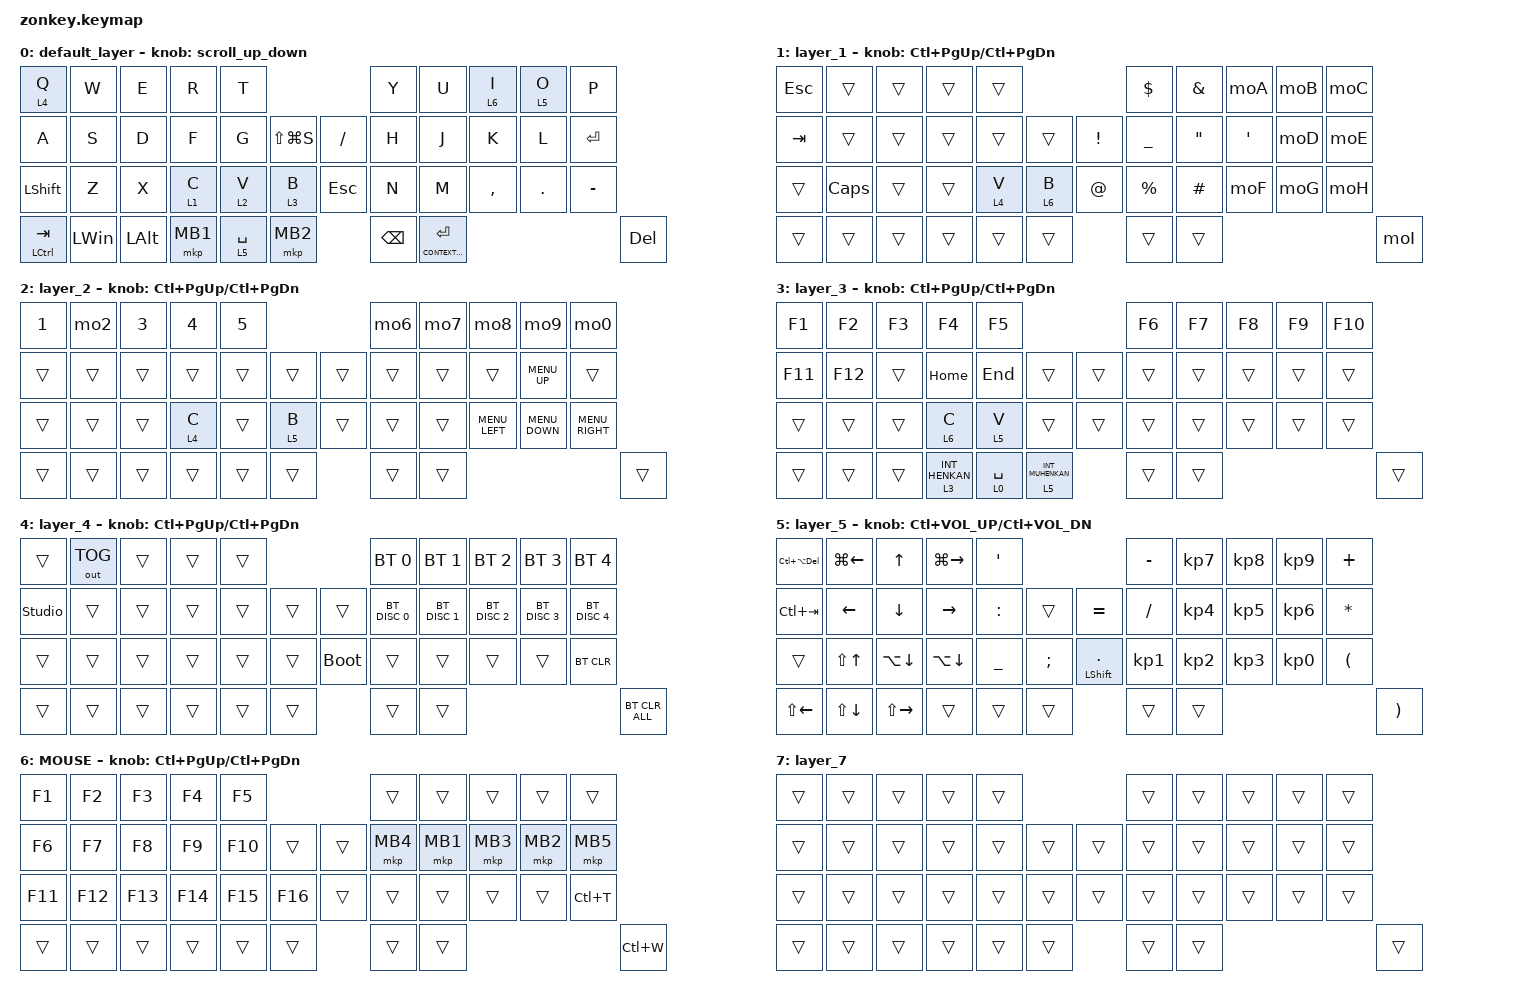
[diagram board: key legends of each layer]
#include <physical_layouts.dtsi>

#define ZMK_POINTING_DEFAULT_MOVE_VAL 1000  // default: 600
#define ZMK_POINTING_DEFAULT_SCRL_VAL 15    // default: 10

#include <behaviors.dtsi>
#include <dt-bindings/zmk/bt.h>
#include <dt-bindings/zmk/keys.h>
#include <dt-bindings/zmk/outputs.h>
#include <dt-bindings/zmk/pointing.h>

#define ZMK_POINTING_DEFAULT_SCRL_VAL 100
#define DFb 0
#define JIS 1
#define BT 4
#define MOUSE 6
#define JP_DQUOTE       AT                // "
#define JP_AMPERSAND    CARET             // &
#define JP_QUOTE        AMPERSAND         // '
#define JP_EQUAL        UNDER             // =
#define JP_CARET        EQUAL             // ^
#define JP_YEN          0x89              // ¥
#define JP_PLUS         COLON             // +
#define JP_TILDE        PLUS              // ~
#define JP_PIPE         LS(0x89)          // |
#define JP_AT           LEFT_BRACKET      // @
#define JP_COLON        SINGLE_QUOTE      // :
#define JP_ASTERISK     DOUBLE_QUOTES     // *
#define JP_BACKQUOTE    LEFT_BRACE        // `
#define JP_UNDERSCORE   LS(0x87)          // _
#define JP_LBRACKET     RIGHT_BRACKET     // [
#define JP_RBRACKET     BACKSLASH         // ]
#define JP_LPAREN       ASTERISK          // (
#define JP_RPAREN       LEFT_PARENTHESIS  // )
#define JP_LBRACE       RIGHT_BRACE       // {
#define JP_RBRACE       PIPE              // }
#define JP_KANA         LANGUAGE_1        // かな
#define JP_EISU         LANGUAGE_2        // 英数
#define JP_HANZEN       GRAVE             // 半角/全角
#define JP_BSLH  INT1         // (backslash)

&mt {
    flavor = "balanced";
    quick-tap-ms = <0>;
};

/ {
    combos {
        compatible = "zmk,combos";

        jpn {
            bindings = <&kp LANG1>;
            key-positions = <37 38>;
        };

        eng {
            bindings = <&kp LANG2>;
            key-positions = <38 39>;
        };

        layer1 {
            bindings = <&sl 1>;
            key-positions = <12 13>;
        };
    };

    macros {
        to_layer_0: to_layer_0 {
            compatible = "zmk,behavior-macro-one-param";
            #binding-cells = <1>;
            bindings = <&to 0 &macro_param_1to1 &kp MACRO_PLACEHOLDER>;
            label = "TO_LAYER_0";
        };
    };

    behaviors {
        lt_to_layer_0: lt_to_layer_0 {
            compatible = "zmk,behavior-hold-tap";
            label = "LAYER_TAP_TO_0";
            bindings = <&mo>, <&to_layer_0>;

            #binding-cells = <2>;
            tapping-term-ms = <200>;
        };

        mo2: mo2 {
            compatible = "zmk,behavior-mod-morph";
            #binding-cells = <0>;
            bindings = <&kp N2>, <&kp AT>;

            mods = <(MOD_LSFT|MOD_RSFT)>;
        };

        mo6: mo6 {
            compatible = "zmk,behavior-mod-morph";
            #binding-cells = <0>;
            bindings = <&kp N6>, <&kp CARET>;

            mods = <(MOD_LSFT|MOD_RSFT)>;
        };

        mo7: mo7 {
            compatible = "zmk,behavior-mod-morph";
            #binding-cells = <0>;
            bindings = <&kp N7>, <&kp AMPS>;

            mods = <(MOD_LSFT|MOD_RSFT)>;
        };

        mo8: mo8 {
            compatible = "zmk,behavior-mod-morph";
            #binding-cells = <0>;
            bindings = <&kp N8>, <&kp ASTRK>;

            mods = <(MOD_LSFT|MOD_RSFT)>;
        };

        mo9: mo9 {
            compatible = "zmk,behavior-mod-morph";
            #binding-cells = <0>;
            bindings = <&kp N9>, <&kp LPAR>;

            mods = <(MOD_LSFT|MOD_RSFT)>;
        };

        mo0: mo0 {
            compatible = "zmk,behavior-mod-morph";
            #binding-cells = <0>;
            bindings = <&kp N0>, <&kp LS(N9)>;

            mods = <(MOD_LSFT|MOD_RSFT)>;
        };

        moA: moA {
            compatible = "zmk,behavior-mod-morph";
            #binding-cells = <0>;
            bindings = <&kp MINUS>, <&kp UNDERSCORE>;

            mods = <(MOD_LSFT|MOD_RSFT)>;
        };

        moB: moB {
            compatible = "zmk,behavior-mod-morph";
            #binding-cells = <0>;
            bindings = <&kp EQUAL>, <&kp PLUS>;

            mods = <(MOD_LSFT|MOD_RSFT)>;
        };

        moC: moC {
            compatible = "zmk,behavior-mod-morph";
            #binding-cells = <0>;
            bindings = <&kp INT3>, <&kp JP_PIPE>;

            mods = <(MOD_LSFT|MOD_RSFT)>;
        };

        moD: moD {
            compatible = "zmk,behavior-mod-morph";
            #binding-cells = <0>;
            bindings = <&kp LBKT>, <&kp LBRC>;

            mods = <(MOD_LSFT|MOD_RSFT)>;
        };

        moE: moE {
            compatible = "zmk,behavior-mod-morph";
            #binding-cells = <0>;
            bindings = <&kp RBKT>, <&kp RBRC>;

            mods = <(MOD_LSFT|MOD_RSFT)>;
        };

        moF: moF {
            compatible = "zmk,behavior-mod-morph";
            #binding-cells = <0>;
            bindings = <&kp SEMI>, <&kp KP_PLUS>;

            mods = <(MOD_LSFT|MOD_RSFT)>;
        };

        moG: moG {
            compatible = "zmk,behavior-mod-morph";
            #binding-cells = <0>;
            bindings = <&kp APOSTROPHE>, <&kp DQT>;

            mods = <(MOD_LSFT|MOD_RSFT)>;
        };

        moH: moH {
            compatible = "zmk,behavior-mod-morph";
            #binding-cells = <0>;
            bindings = <&kp BACKSLASH>, <&kp TILDE2>;

            mods = <(MOD_LSFT|MOD_RSFT)>;
        };

        moI: moI {
            compatible = "zmk,behavior-mod-morph";
            #binding-cells = <0>;
            bindings = <&kp JP_BSLH>, <&kp JP_UNDERSCORE>;

            mods = <(MOD_LSFT|MOD_RSFT)>;
        };

        scroll_up_down: behavior_sensor_rotate_mouse_wheel_up_down {
            compatible = "zmk,behavior-sensor-rotate";
            #sensor-binding-cells = <0>;
            bindings = <&msc SCRL_DOWN>, <&msc SCRL_UP>;

            tap-ms = <20>;
        };

        encoder_msc_down_up: encoder_msc_down_up {
            compatible = "zmk,behavior-sensor-rotate";
            label = "ENCODER_MSC_DOWN_UP";
            #sensor-binding-cells = <0>;
            bindings = <&msc SCRL_DOWN>, <&msc SCRL_UP>;

            tap-ms = <20>;
        };
    };

    keymap {
        compatible = "zmk,keymap";

        default_layer {
            bindings = <
&lt 4 Q         &kp W         &kp E         &kp R     &kp T                                    &kp Y          &kp U                     &lt 6 I    &lt 5 O  &kp P
&kp A           &kp S         &kp D         &kp F     &kp G        &kp LS(LG(S))    &kp SLASH  &kp H          &kp J                     &kp K      &kp L    &kp ENTER
&kp LEFT_SHIFT  &kp Z         &kp X         &lt 1 C   &lt 2 V      &lt 3 B          &kp ESC    &kp N          &kp M                     &kp COMMA  &kp DOT  &kp MINUS
&mt LCTRL TAB   &kp LEFT_WIN  &kp LEFT_ALT  &mkp MB1  &lt 5 SPACE  &mkp MB2                    &kp BACKSPACE  &mt K_CONTEXT_MENU ENTER                                 &kp DEL
            >;

            sensor-bindings = <&scroll_up_down>;
        };

        layer_1 {
            bindings = <
&kp ESC  &trans    &trans  &trans  &trans                               &kp DOLLAR      &kp AMPS           &moA              &moB  &moC
&kp TAB  &trans    &trans  &trans  &trans   &trans     &kp EXCLAMATION  &kp UNDERSCORE  &kp DOUBLE_QUOTES  &kp SINGLE_QUOTE  &moD  &moE
&trans   &kp CAPS  &trans  &trans  &lt 4 V  &lt 6 B    &kp AT_SIGN      &kp PERCENT     &kp POUND          &moF              &moG  &moH
&trans   &trans    &trans  &trans  &trans   &trans                      &trans          &trans                                           &moI
            >;

            sensor-bindings = <&inc_dec_kp LC(PAGE_UP) LC(PAGE_DOWN)>;
        };

        layer_2 {
            bindings = <
&kp N1  &mo2    &kp N3  &kp N4   &kp N5                     &mo6    &mo7    &mo8             &mo9             &mo0
&trans  &trans  &trans  &trans   &trans  &trans     &trans  &trans  &trans  &trans           &kp C_MENU_UP    &trans
&trans  &trans  &trans  &lt 4 C  &trans  &lt 5 B    &trans  &trans  &trans  &kp C_MENU_LEFT  &kp C_MENU_DOWN  &kp C_MENU_RIGHT
&trans  &trans  &trans  &trans   &trans  &trans             &trans  &trans                                                      &trans
            >;

            sensor-bindings = <&inc_dec_kp LC(PAGE_UP) LC(PAGE_DOWN)>;
        };

        layer_3 {
            bindings = <
&kp F1   &kp F2   &kp F3  &kp F4            &kp F5                                     &kp F6  &kp F7  &kp F8  &kp F9  &kp F10
&kp F11  &kp F12  &trans  &kp HOME          &kp END      &trans                &trans  &trans  &trans  &trans  &trans  &trans
&trans   &trans   &trans  &lt 6 C           &lt 5 V      &trans                &trans  &trans  &trans  &trans  &trans  &trans
&trans   &trans   &trans  &lt 3 INT_HENKAN  &lt 0 SPACE  &lt 5 INT_MUHENKAN            &trans  &trans                           &trans
            >;

            sensor-bindings = <&inc_dec_kp LC(PAGE_UP) LC(PAGE_DOWN)>;
        };

        layer_4 {
            bindings = <
&trans          &out OUT_TOG  &trans  &trans  &trans                         &bt BT_SEL 0   &bt BT_SEL 1   &bt BT_SEL 2   &bt BT_SEL 3   &bt BT_SEL 4
&studio_unlock  &trans        &trans  &trans  &trans  &trans    &trans       &bt BT_DISC 0  &bt BT_DISC 1  &bt BT_DISC 2  &bt BT_DISC 3  &bt BT_DISC 4
&trans          &trans        &trans  &trans  &trans  &trans    &bootloader  &trans         &trans         &trans         &trans         &bt BT_CLR
&trans          &trans        &trans  &trans  &trans  &trans                 &trans         &trans                                                      &bt BT_CLR_ALL
            >;

            sensor-bindings = <&inc_dec_kp LC(PAGE_UP) LC(PAGE_DOWN)>;
        };

        layer_5 {
            bindings = <
&kp LC(LA(DEL))     &kp LG(LEFT_ARROW)  &kp UP_ARROW         &kp LG(RIGHT_ARROW)  &kp SINGLE_QUOTE                                          &kp MINUS        &kp KP_NUMBER_7  &kp KP_NUMBER_8  &kp KP_NUMBER_9  &kp PLUS
&kp LC(TAB)         &kp LEFT_ARROW      &kp DOWN_ARROW       &kp RIGHT_ARROW      &kp COLON         &trans           &kp EQUAL              &kp SLASH        &kp KP_NUMBER_4  &kp KP_NUMBER_5  &kp KP_NUMBER_6  &kp ASTERISK
&trans              &kp LS(UP_ARROW)    &kp LA(DOWN_ARROW)   &kp LA(DOWN_ARROW)   &kp UNDERSCORE    &kp SEMICOLON    &mt LEFT_SHIFT PERIOD  &kp KP_NUMBER_1  &kp KP_NUMBER_2  &kp KP_NUMBER_3  &kp KP_N0        &kp LEFT_PARENTHESIS
&kp LS(LEFT_ARROW)  &kp LS(DOWN_ARROW)  &kp LS(RIGHT_ARROW)  &trans               &trans            &trans                                  &trans           &trans                                                                   &kp RIGHT_PARENTHESIS
            >;

            sensor-bindings = <&inc_dec_kp LC(C_VOLUME_UP) LC(C_VOL_DN)>;
        };

        MOUSE {
            bindings = <
&kp F1   &kp F2   &kp F3   &kp F4   &kp F5                      &trans    &trans    &trans    &trans    &trans
&kp F6   &kp F7   &kp F8   &kp F9   &kp F10  &trans     &trans  &mkp MB4  &mkp MB1  &mkp MB3  &mkp MB2  &mkp MB5
&kp F11  &kp F12  &kp F13  &kp F14  &kp F15  &kp F16    &trans  &trans    &trans    &trans    &trans    &kp LC(T)
&trans   &trans   &trans   &trans   &trans   &trans             &trans    &trans                                   &kp LC(W)
            >;

            sensor-bindings = <&inc_dec_kp LC(PAGE_UP) LC(PAGE_DOWN)>;
        };

        layer_7 {
            bindings = <
&trans  &trans  &trans  &trans  &trans                    &trans  &trans  &trans  &trans  &trans
&trans  &trans  &trans  &trans  &trans  &trans    &trans  &trans  &trans  &trans  &trans  &trans
&trans  &trans  &trans  &trans  &trans  &trans    &trans  &trans  &trans  &trans  &trans  &trans
&trans  &trans  &trans  &trans  &trans  &trans            &trans  &trans                          &trans
            >;
        };
    };
};
